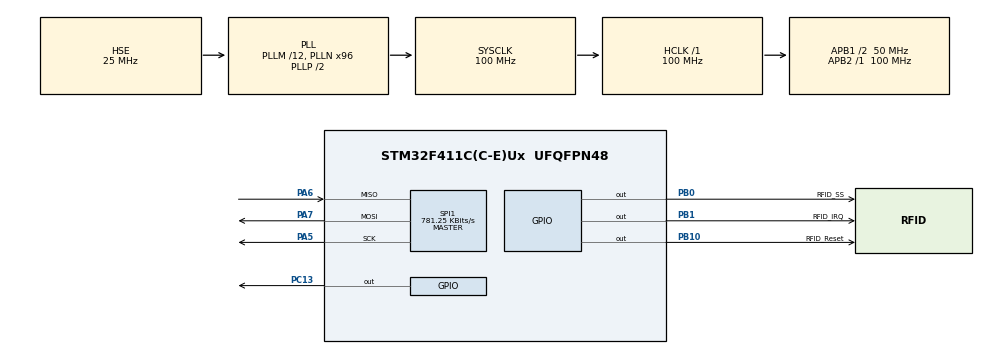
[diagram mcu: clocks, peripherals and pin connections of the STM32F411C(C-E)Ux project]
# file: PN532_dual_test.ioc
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Mcu.Family=STM32F4
Mcu.Name=STM32F411C(C-E)Ux
Mcu.Package=UFQFPN48
NVIC.PriorityGroup=NVIC_PRIORITYGROUP_4
PA13.Mode=Serial_Wire
PA13.Signal=SYS_JTMS-SWDIO
PA14.Mode=Serial_Wire
PA14.Signal=SYS_JTCK-SWCLK
PA5.Mode=Full_Duplex_Master
PA5.Signal=SPI1_SCK
PA6.Mode=Full_Duplex_Master
PA6.Signal=SPI1_MISO
PA7.Mode=Full_Duplex_Master
PA7.Signal=SPI1_MOSI
PB0.GPIO_Label=RFID_SS
PB0.Signal=GPIO_Output
PB1.GPIO_Label=RFID_IRQ
PB1.Signal=GPIO_Output
PB10.GPIO_Label=RFID_Reset
PB10.Signal=GPIO_Output
PC13-ANTI_TAMP.Signal=GPIO_Output
PH0\ -\ OSC_IN.Mode=HSE-External-Oscillator
PH0\ -\ OSC_IN.Signal=RCC_OSC_IN
PH1\ -\ OSC_OUT.Mode=HSE-External-Oscillator
PH1\ -\ OSC_OUT.Signal=RCC_OSC_OUT
ProjectManager.HeapSize=0x200
ProjectManager.StackSize=0x400
ProjectManager.TargetToolchain=STM32CubeIDE
RCC.48MHZClocksFreq_Value=50000000
RCC.AHBFreq_Value=100000000
RCC.APB1CLKDivider=RCC_HCLK_DIV2
RCC.APB1Freq_Value=50000000
RCC.APB1TimFreq_Value=100000000
RCC.APB2Freq_Value=100000000
RCC.APB2TimFreq_Value=100000000
RCC.CortexFreq_Value=100000000
RCC.HCLKFreq_Value=100000000
RCC.HSE_VALUE=25000000
RCC.HSI_VALUE=16000000
RCC.LSE_VALUE=32768
RCC.PLLM=12
RCC.PLLN=96
RCC.PLLSourceVirtual=RCC_PLLSOURCE_HSE
RCC.SYSCLKFreq_VALUE=100000000
RCC.SYSCLKSource=RCC_SYSCLKSOURCE_PLLCLK
RCC.VCOOutputFreq_Value=200000000
SPI1.BaudRatePrescaler=SPI_BAUDRATEPRESCALER_128
SPI1.CalculateBaudRate=781.25 KBits/s
SPI1.Direction=SPI_DIRECTION_2LINES
SPI1.FirstBit=SPI_FIRSTBIT_LSB
SPI1.Mode=SPI_MODE_MASTER
SPI1.VirtualType=VM_MASTER
board=custom

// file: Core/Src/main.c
/* USER CODE BEGIN Header */
/**
  ******************************************************************************
  * @file           : main.c
  * @brief          : Main program body
  ******************************************************************************
  * @attention
  *
  * Copyright (c) 2024 STMicroelectronics.
  * All rights reserved.
  *
  * This software is licensed under terms that can be found in the LICENSE file
  * in the root directory of this software component.
  * If no LICENSE file comes with this software, it is provided AS-IS.
  *
  ******************************************************************************
  */
/* USER CODE END Header */
#include "main.h"

/* USER CODE BEGIN Includes */
#include "pn532_stm32f1.h"
/* USER CODE END Includes */

/* USER CODE BEGIN PM */
uint8_t uid[MIFARE_UID_MAX_LENGTH];
int32_t uid_len = 0;
uint8_t uid_version[10];
PN532 pn532;
/* USER CODE END PM */

SPI_HandleTypeDef hspi1;

void SystemClock_Config(void);
static void MX_GPIO_Init(void);
static void MX_SPI1_Init(void);

/* USER CODE BEGIN 0 */
void Startup_RFID(){

	PN532_SPI_Init(&pn532);
	//HAL_GPIO_WritePin(RFID_SSF_GPIO_Port, RFID_SSF_Pin, 0);

	if(PN532_GetFirmwareVersion(&pn532, uid_version) != PN532_STATUS_OK)
	{
		while(1){
			HAL_GPIO_TogglePin(GPIOC, GPIO_PIN_13);
			HAL_Delay(100);
		}
	}

	PN532_SamConfiguration(&pn532);

}
void AGV_RFID_Detection(){
	uid_len = PN532_ReadPassiveTarget(&pn532, uid, PN532_MIFARE_ISO14443A, 100);

}
/* USER CODE END 0 */

int main(void)
{

  /* MCU Configuration--------------------------------------------------------*/

  /* Reset of all peripherals, Initializes the Flash interface and the Systick. */
  HAL_Init();

  /* Configure the system clock */
  SystemClock_Config();

  /* Initialize all configured peripherals */
  MX_GPIO_Init();
  MX_SPI1_Init();
  /* USER CODE BEGIN 2 */
  Startup_RFID();
  /* USER CODE END 2 */

  /* Infinite loop */
  /* USER CODE BEGIN WHILE */
  while (1)
  {
	  AGV_RFID_Detection();
    /* USER CODE END WHILE */

  }
}

void SystemClock_Config(void)
{
  RCC_OscInitTypeDef RCC_OscInitStruct = {0};
  RCC_ClkInitTypeDef RCC_ClkInitStruct = {0};

  /** Configure the main internal regulator output voltage
  */
  __HAL_RCC_PWR_CLK_ENABLE();
  __HAL_PWR_VOLTAGESCALING_CONFIG(PWR_REGULATOR_VOLTAGE_SCALE1);

  /** Initializes the RCC Oscillators according to the specified parameters
  * in the RCC_OscInitTypeDef structure.
  */
  RCC_OscInitStruct.OscillatorType = RCC_OSCILLATORTYPE_HSE;
  RCC_OscInitStruct.HSEState = RCC_HSE_ON;
  RCC_OscInitStruct.PLL.PLLState = RCC_PLL_ON;
  RCC_OscInitStruct.PLL.PLLSource = RCC_PLLSOURCE_HSE;
  RCC_OscInitStruct.PLL.PLLM = 12;
  RCC_OscInitStruct.PLL.PLLN = 96;
  RCC_OscInitStruct.PLL.PLLP = RCC_PLLP_DIV2;
  RCC_OscInitStruct.PLL.PLLQ = 4;
  if (HAL_RCC_OscConfig(&RCC_OscInitStruct) != HAL_OK)
  {
    Error_Handler();
  }

  /** Initializes the CPU, AHB and APB buses clocks
  */
  RCC_ClkInitStruct.ClockType = RCC_CLOCKTYPE_HCLK|RCC_CLOCKTYPE_SYSCLK
                              |RCC_CLOCKTYPE_PCLK1|RCC_CLOCKTYPE_PCLK2;
  RCC_ClkInitStruct.SYSCLKSource = RCC_SYSCLKSOURCE_PLLCLK;
  RCC_ClkInitStruct.AHBCLKDivider = RCC_SYSCLK_DIV1;
  RCC_ClkInitStruct.APB1CLKDivider = RCC_HCLK_DIV2;
  RCC_ClkInitStruct.APB2CLKDivider = RCC_HCLK_DIV1;

  if (HAL_RCC_ClockConfig(&RCC_ClkInitStruct, FLASH_LATENCY_3) != HAL_OK)
  {
    Error_Handler();
  }
}

static void MX_SPI1_Init(void)
{

  /* SPI1 parameter configuration*/
  hspi1.Instance = SPI1;
  hspi1.Init.Mode = SPI_MODE_MASTER;
  hspi1.Init.Direction = SPI_DIRECTION_2LINES;
  hspi1.Init.DataSize = SPI_DATASIZE_8BIT;
  hspi1.Init.CLKPolarity = SPI_POLARITY_LOW;
  hspi1.Init.CLKPhase = SPI_PHASE_1EDGE;
  hspi1.Init.NSS = SPI_NSS_SOFT;
  hspi1.Init.BaudRatePrescaler = SPI_BAUDRATEPRESCALER_128;
  hspi1.Init.FirstBit = SPI_FIRSTBIT_LSB;
  hspi1.Init.TIMode = SPI_TIMODE_DISABLE;
  hspi1.Init.CRCCalculation = SPI_CRCCALCULATION_DISABLE;
  hspi1.Init.CRCPolynomial = 10;
  if (HAL_SPI_Init(&hspi1) != HAL_OK)
  {
    Error_Handler();
  }

}

static void MX_GPIO_Init(void)
{
  GPIO_InitTypeDef GPIO_InitStruct = {0};

  /* GPIO Ports Clock Enable */
  __HAL_RCC_GPIOC_CLK_ENABLE();
  __HAL_RCC_GPIOH_CLK_ENABLE();
  __HAL_RCC_GPIOA_CLK_ENABLE();
  __HAL_RCC_GPIOB_CLK_ENABLE();

  /*Configure GPIO pin Output Level */
  HAL_GPIO_WritePin(GPIOC, GPIO_PIN_13, GPIO_PIN_RESET);

  /*Configure GPIO pin Output Level */
  HAL_GPIO_WritePin(GPIOB, RFID_SS_Pin|RFID_IRQ_Pin|RFID_Reset_Pin, GPIO_PIN_RESET);

  /*Configure GPIO pin : PC13 */
  GPIO_InitStruct.Pin = GPIO_PIN_13;
  GPIO_InitStruct.Mode = GPIO_MODE_OUTPUT_PP;
  GPIO_InitStruct.Pull = GPIO_NOPULL;
  GPIO_InitStruct.Speed = GPIO_SPEED_FREQ_LOW;
  HAL_GPIO_Init(GPIOC, &GPIO_InitStruct);

  /*Configure GPIO pins : RFID_SS_Pin RFID_IRQ_Pin RFID_Reset_Pin */
  GPIO_InitStruct.Pin = RFID_SS_Pin|RFID_IRQ_Pin|RFID_Reset_Pin;
  GPIO_InitStruct.Mode = GPIO_MODE_OUTPUT_PP;
  GPIO_InitStruct.Pull = GPIO_NOPULL;
  GPIO_InitStruct.Speed = GPIO_SPEED_FREQ_LOW;
  HAL_GPIO_Init(GPIOB, &GPIO_InitStruct);

}

void Error_Handler(void)
{
  __disable_irq();
  while (1)
  {
  }
}
